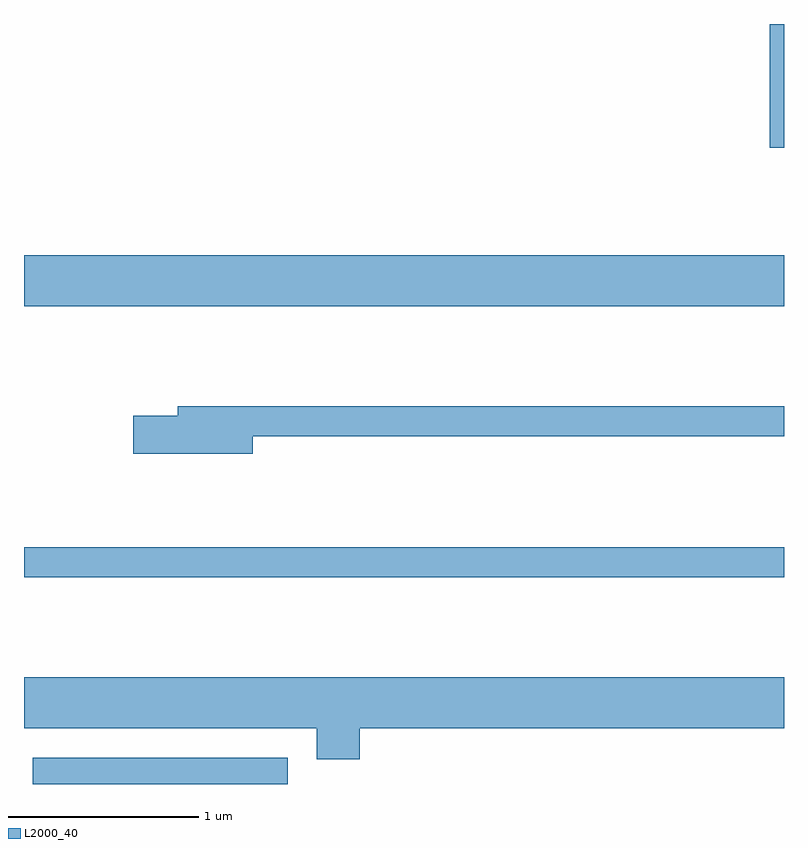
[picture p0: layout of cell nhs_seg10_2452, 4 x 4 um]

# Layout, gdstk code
import gdstk
lib = gdstk.Library(unit=1e-6, precision=1e-09)
def R(c, l, rs):  # rectangles x0, y0, x1, y1
    for r in rs: c.add(gdstk.rectangle(r[:2], r[2:], *l))
def P(c, l, *ps):  # polygons
    for p in ps: c.add(gdstk.Polygon(p, *l))
L2000_40 = (2000, 40)

nhs_seg10_2452 = lib.new_cell('nhs_seg10_2452')
R(nhs_seg10_2452, L2000_40, [(257.658,2102.522,258.999,2102.659), (257.611,2103.611,261.611,2103.769), (257.611,2105.036,261.611,2105.304), (261.536,2105.871,261.611,2106.522)])
P(nhs_seg10_2452, L2000_40, [(258.814,2104.351),(261.611,2104.351),(261.611,2104.509),(258.421,2104.509),(258.421,2104.459),(258.186,2104.459),(258.186,2104.261),(258.814,2104.261)],
  [(259.379,2102.816),(261.611,2102.816),(261.611,2103.084),(257.611,2103.084),(257.611,2102.816),(259.151,2102.816),(259.151,2102.651),(259.379,2102.651)])

lib.write_gds('nhs_seg10_2452.gds')
